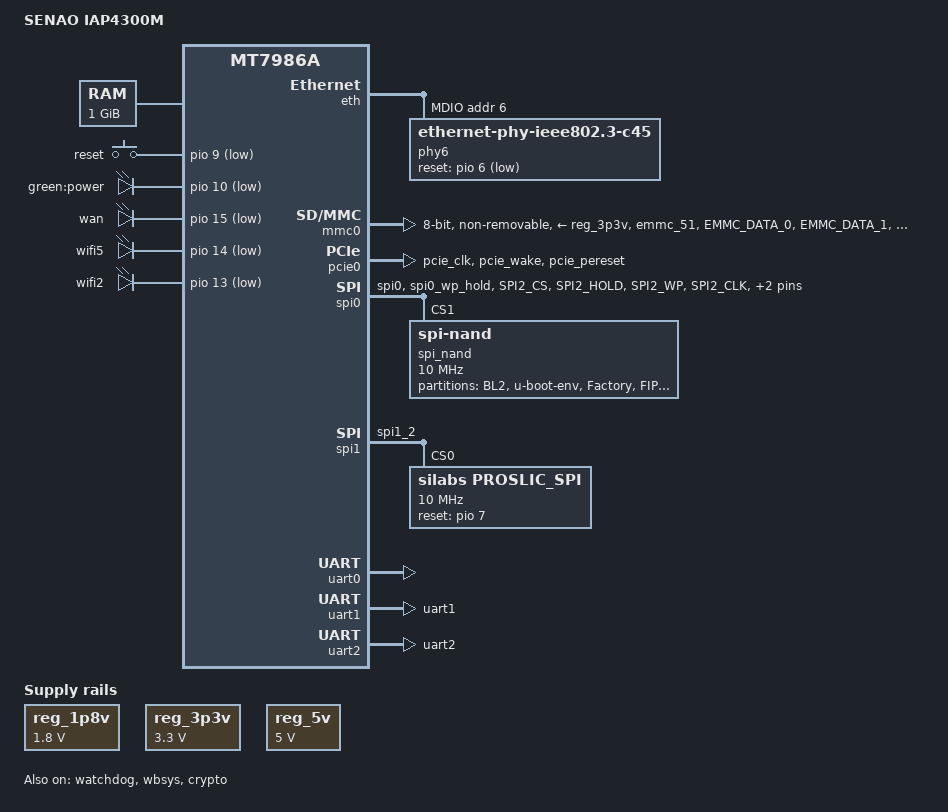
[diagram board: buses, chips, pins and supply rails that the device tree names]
// SPDX-License-Identifier: (GPL-2.0 OR MIT)
/*
 * Copyright (C) 2021 MediaTek Inc.
 * Author: Sam.Shih <sam.shih@mediatek.com>
 */

/dts-v1/;
#include "mt7986a.dtsi"
#include <dt-bindings/input/input.h>
#include <dt-bindings/gpio/gpio.h>
/ {
	model = "SENAO IAP4300M";
	compatible = "senao,iap4300m", "mediatek,mt7986a";

	aliases {
		led-boot = &led_green;
		led-failsafe = &led_green;
		led-running = &led_green;
		led-upgrade = &led_green;
		serial0 = &uart0;
	};

	chosen {
		stdout-path = "serial0:115200n8";
	};

	memory {
		reg = <0 0x40000000 0 0x40000000>;
	};

	reg_1p8v: regulator-1p8v {
		compatible = "regulator-fixed";
		regulator-name = "fixed-1.8V";
		regulator-min-microvolt = <1800000>;
		regulator-max-microvolt = <1800000>;
		regulator-boot-on;
		regulator-always-on;
	};

	reg_3p3v: regulator-3p3v {
		compatible = "regulator-fixed";
		regulator-name = "fixed-3.3V";
		regulator-min-microvolt = <3300000>;
		regulator-max-microvolt = <3300000>;
		regulator-boot-on;
		regulator-always-on;
	};

	reg_5v: regulator-5v {
		compatible = "regulator-fixed";
		regulator-name = "fixed-5V";
		regulator-min-microvolt = <5000000>;
		regulator-max-microvolt = <5000000>;
		regulator-boot-on;
		regulator-always-on;
	};

    gpio-keys {
    compatible = "gpio-keys";

        reset {
            label = "reset";
            linux,code = <KEY_RESTART>;
            gpios = <&pio 9 GPIO_ACTIVE_LOW>;
        };
    };

	leds {
		compatible = "gpio-leds";

		led_green: led@0 {
			label = "green:power";
			gpios = <&pio 10 GPIO_ACTIVE_LOW>;
		};

		led@1 {
			label = "wan";
			gpios = <&pio 15 GPIO_ACTIVE_LOW>;
		};

		led@2 {
			label = "wifi5";
			gpios = <&pio 14 GPIO_ACTIVE_LOW>;
		};
		led@3 {
			label = "wifi2";
			gpios = <&pio 13 GPIO_ACTIVE_LOW>;
		};
	};
};

&eth {
	status = "okay";

	gmac1: mac@1 {
		compatible = "mediatek,eth-mac";
		reg = <1>;
		phy-mode = "2500base-x";
	};

	mdio: mdio-bus {
		#address-cells = <1>;
		#size-cells = <0>;
	};
};

&watchdog {
	status = "okay";
};

&wbsys {
    status = "okay";
    mediatek,mtd-eeprom = <&factory 0x0000>;
    pinctrl-names = "default", "dbdc";
    pinctrl-0 = <&wf_2g_5g_pins>;
    pinctrl-1 = <&wf_dbdc_pins>;
    clocks = <&topckgen CLK_TOP_CONN_MCUSYS_SEL>,
          <&topckgen CLK_TOP_AP2CNN_HOST_SEL>;
    clock-names = "mcu", "ap2conn";

};

&mdio {
	phy6: phy@6 {
        compatible = "ethernet-phy-ieee802.3-c45";
		reg = <6>;
		reset-gpios = <&pio 6 1>;
		reset-deassert-us = <20000>;
	};
};

&crypto {
	status = "okay";
};

&mmc0 {
	pinctrl-names = "default", "state_uhs";
	pinctrl-0 = <&mmc0_pins_default>;
	pinctrl-1 = <&mmc0_pins_uhs>;
	bus-width = <8>;
	max-frequency = <200000000>;
	cap-mmc-highspeed;
	mmc-hs200-1_8v;
	mmc-hs400-1_8v;
	hs400-ds-delay = <0x14014>;
	vmmc-supply = <&reg_3p3v>;
	vqmmc-supply = <&reg_1p8v>;
	non-removable;
	no-sd;
	no-sdio;
	status = "okay";
};

&pcie0 {
	pinctrl-names = "default";
	pinctrl-0 = <&pcie_pins>;
	status = "okay";
};

&pio {
	mmc0_pins_default: mmc0-pins {
		mux {
			function = "emmc";
			groups = "emmc_51";
		};
		conf-cmd-dat {
			pins = "EMMC_DATA_0", "EMMC_DATA_1", "EMMC_DATA_2",
			       "EMMC_DATA_3", "EMMC_DATA_4", "EMMC_DATA_5",
			       "EMMC_DATA_6", "EMMC_DATA_7", "EMMC_CMD";
			input-enable;
			drive-strength = <4>;
			mediatek,pull-up-adv = <1>;	/* pull-up 10K */
		};
		conf-clk {
			pins = "EMMC_CK";
			drive-strength = <6>;
			mediatek,pull-down-adv = <2>;	/* pull-down 50K */
		};
		conf-ds {
			pins = "EMMC_DSL";
			mediatek,pull-down-adv = <2>;	/* pull-down 50K */
		};
		conf-rst {
			pins = "EMMC_RSTB";
			drive-strength = <4>;
			mediatek,pull-up-adv = <1>;	/* pull-up 10K */
		};
	};

	mmc0_pins_uhs: mmc0-uhs-pins {
		mux {
			function = "emmc";
			groups = "emmc_51";
		};
		conf-cmd-dat {
			pins = "EMMC_DATA_0", "EMMC_DATA_1", "EMMC_DATA_2",
			       "EMMC_DATA_3", "EMMC_DATA_4", "EMMC_DATA_5",
			       "EMMC_DATA_6", "EMMC_DATA_7", "EMMC_CMD";
			input-enable;
			drive-strength = <4>;
			mediatek,pull-up-adv = <1>;	/* pull-up 10K */
		};
		conf-clk {
			pins = "EMMC_CK";
			drive-strength = <6>;
			mediatek,pull-down-adv = <2>;	/* pull-down 50K */
		};
		conf-ds {
			pins = "EMMC_DSL";
			mediatek,pull-down-adv = <2>;	/* pull-down 50K */
		};
		conf-rst {
			pins = "EMMC_RSTB";
			drive-strength = <4>;
			mediatek,pull-up-adv = <1>;	/* pull-up 10K */
		};
	};

	pcie_pins: pcie0-pins-9-10-41 {
		mux {
			function = "pcie";
			groups = "pcie_clk", "pcie_wake", "pcie_pereset";
		};
	};

	spic_pins_g2: spic-pins-29-to-32 {
		mux {
			function = "spi";
			groups = "spi1_2";
		};
	};

	spi_flash_pins: spi-flash-pins-33-to-38 {
		mux {
			function = "spi";
			groups = "spi0", "spi0_wp_hold";
		};
		conf-pu {
			pins = "SPI2_CS", "SPI2_HOLD", "SPI2_WP";
			drive-strength = <8>;
			mediatek,pull-up-adv = <0>;	/* bias-disable */
		};
		conf-pd {
			pins = "SPI2_CLK", "SPI2_MOSI", "SPI2_MISO";
			drive-strength = <8>;
			mediatek,pull-down-adv = <0>;	/* bias-disable */
		};
	};

	uart1_pins: uart1-pins {
		mux {
			function = "uart";
			groups = "uart1";
		};
	};

	uart2_pins: uart2-pins {
		mux {
			function = "uart";
			groups = "uart2";
		};
	};

	wf_2g_5g_pins: wf_2g_5g-pins {
		mux {
			function = "wifi";
			groups = "wf_2g", "wf_5g";
		};
		conf {
			pins = "WF0_HB1", "WF0_HB2", "WF0_HB3", "WF0_HB4",
			       "WF0_HB0", "WF0_HB0_B", "WF0_HB5", "WF0_HB6",
			       "WF0_HB7", "WF0_HB8", "WF0_HB9", "WF0_HB10",
			       "WF0_TOP_CLK", "WF0_TOP_DATA", "WF1_HB1",
			       "WF1_HB2", "WF1_HB3", "WF1_HB4", "WF1_HB0",
			       "WF1_HB5", "WF1_HB6", "WF1_HB7", "WF1_HB8",
			       "WF1_TOP_CLK", "WF1_TOP_DATA";
			drive-strength = <MTK_DRIVE_4mA>;
		};
	};

	wf_dbdc_pins: wf_dbdc-pins {
		mux {
			function = "wifi";
			groups = "wf_dbdc";
		};
		conf {
			pins = "WF0_HB1", "WF0_HB2", "WF0_HB3", "WF0_HB4",
			       "WF0_HB0", "WF0_HB0_B", "WF0_HB5", "WF0_HB6",
			       "WF0_HB7", "WF0_HB8", "WF0_HB9", "WF0_HB10",
			       "WF0_TOP_CLK", "WF0_TOP_DATA", "WF1_HB1",
			       "WF1_HB2", "WF1_HB3", "WF1_HB4", "WF1_HB0",
			       "WF1_HB5", "WF1_HB6", "WF1_HB7", "WF1_HB8",
			       "WF1_TOP_CLK", "WF1_TOP_DATA";
			drive-strength = <MTK_DRIVE_4mA>;
		};
	};
};

&spi0 {
	pinctrl-names = "default";
	pinctrl-0 = <&spi_flash_pins>;
	cs-gpios = <0>, <0>;
	#address-cells = <1>;
	#size-cells = <0>;
	status = "disabled";
};

&spi0 {
	status = "okay";

	spi_nand: spi_nand@0 {
		#address-cells = <1>;
		#size-cells = <1>;
		compatible = "spi-nand";
		reg = <1>;
		spi-max-frequency = <10000000>;
		spi-tx-buswidth = <4>;
		spi-rx-buswidth = <4>;

		partitions {
			compatible = "fixed-partitions";
			#address-cells = <1>;
			#size-cells = <1>;

			partition@0 {
				label = "BL2"; //1024KB
				reg = <0x00000 0x0100000>;
				read-only;
			};

			partition@100000 {
				label = "u-boot-env"; //512KB
				reg = <0x0100000 0x0080000>;
			};

			factory: partition@180000 {
				label = "Factory"; //2048KB
				reg = <0x180000 0x0200000>;
			};

			partition@380000 {
				label = "FIP"; //2048KB
				reg = <0x380000 0x0200000>;
			};

			partition@580000 {
				label = "ubi"; //110MB
				reg = <0x580000 0x6E00000>;
			};

			partition@7380000 {
				label = "ubi_1"; //110MB
				reg = <0x7380000 0x6E00000>;
			};

			partition@E180000 {
				label = "cert"; //384KB
				reg = <0xE180000 0x0060000>;
			};

			partition@E1E0000 {
				label = "userconfig"; //640KB
				reg = <0xE1E0000 0x00a0000>;
			};

			partition@E280000 {
				label = "crashdump"; //384KB
				reg = <0xE280000 0x0060000>;
			};

		};
	};
};

&spi1 {
	pinctrl-names = "default";
	pinctrl-0 = <&spic_pins_g2>;
	status = "okay";

	proslic_spi: proslic_spi@0 {
		compatible = "silabs,proslic_spi";
		reg = <0>;
		spi-max-frequency = <10000000>;
		spi-cpha = <1>;
		spi-cpol = <1>;
		channel_count = <1>;
		debug_level = <4>;       /* 1 = TRC, 2 = DBG, 4 = ERR */
		reset_gpio = <&pio 7 0>;
		ig,enable-spi = <1>;     /* 1: Enable, 0: Disable */
	};
};

&gmac1 {
	phy-mode = "2500base-x";
	phy-connection-type = "2500base-x";
	phy-handle = <&phy6>;
};

&uart0 {
	status = "okay";
};

&uart1 {
	pinctrl-names = "default";
	pinctrl-0 = <&uart1_pins>;
	status = "okay";
};

&uart2 {
	pinctrl-names = "default";
	pinctrl-0 = <&uart2_pins>;
	status = "okay";
};
